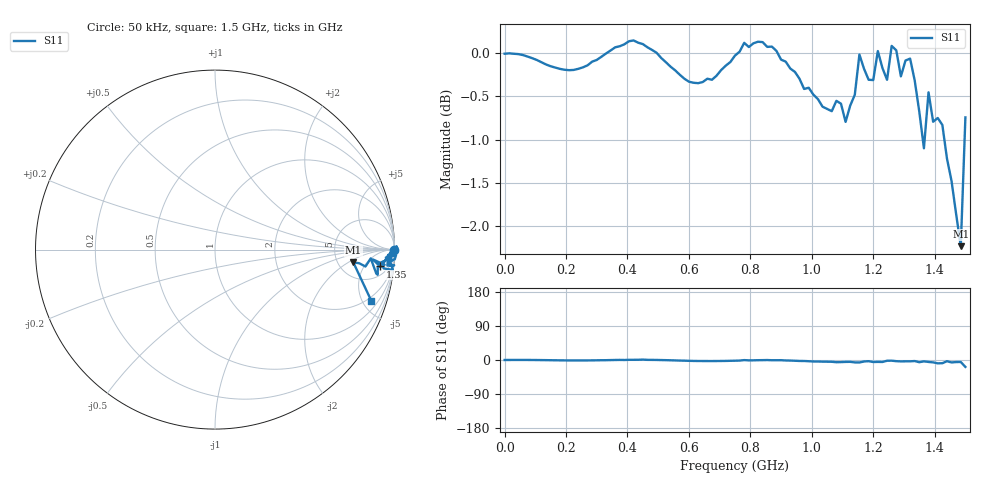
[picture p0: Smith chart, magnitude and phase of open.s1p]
! Created with skrf 1.8.0 (http://scikit-rf.org).
# Hz S RI R 50.0
!freq ReS11 ImS11
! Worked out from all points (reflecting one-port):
!   101 points, 50 kHz to 1.5 GHz, reference 50 ohm
!   lowest |S11| = -2.2 dB at 1.485 GHz (marker M1), VSWR 7.84, Z = 348 - j123 ohm
!   phase of S11 starts at 0 deg and turns -18 deg over the sweep
!   S11 on the Smith chart (normalised r, x): 50 kHz: open; 1.35 GHz: 10, -12; 1.5 GHz: 1.59, -5.81
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50000  0.9987 0.000432
1.950435e8  0.9775 -0.0173
3.750375e8  1.009 0.00441
4.50035e8  1.011 0.019
5.70031e8  0.971 -0.0258
7.50025e8  0.9956 -0.0326
8.550215e8  1.008 -0.002
9.450185e8  0.9743 -0.0334
1.080014e9  0.9334 -0.0952
1.125012e9  0.929 -0.0783
1.155012e9  0.9911 -0.1133
1.18501e9  0.9633 -0.0526
1.21501e9  0.9984 -0.0872
1.230009e9  0.9758 -0.0885
1.245008e9  0.9642 -0.0331
1.260008e9  1.009 -0.0313
1.290007e9  0.9671 -0.0625
1.320006e9  0.9904 -0.0599
1.335006e9  0.9628 -0.0462
1.350005e9  0.9199 -0.0939
1.365004e9  0.8793 -0.0546
1.380004e9  0.9451 -0.0846
1.410003e9  0.9064 -0.1401
1.425002e9  0.8988 -0.134
1.440002e9  0.8678 -0.0489
1.455002e9  0.8382 -0.0942
1.485e9  0.7706 -0.0712
1.5e9  0.8718 -0.2872
